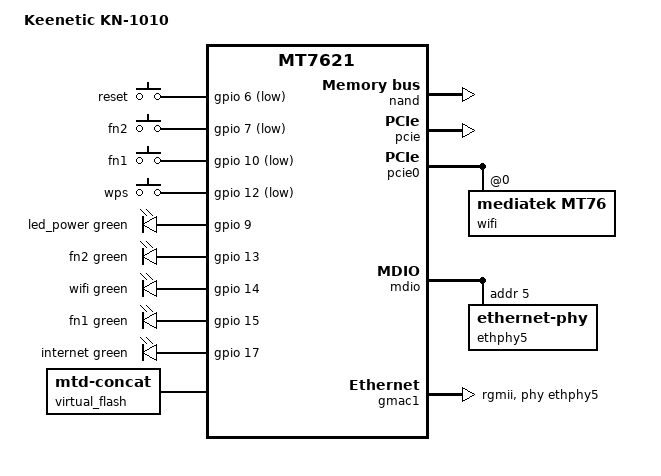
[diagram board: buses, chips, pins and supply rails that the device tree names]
// SPDX-License-Identifier: GPL-2.0-or-later OR MIT
#include "mt7621.dtsi"

#include <dt-bindings/gpio/gpio.h>
#include <dt-bindings/input/input.h>
#include <dt-bindings/leds/common.h>

/ {
	compatible = "keenetic,kn-1010", "mediatek,mt7621-soc";
	model = "Keenetic KN-1010";

	aliases {
		led-boot = &led_power;
		led-failsafe = &led_power;
		led-running = &led_power;
		led-upgrade = &led_power;
		label-mac-device = &gmac0;
	};

	chosen {
		bootargs = "console=ttyS0,57600";
	};

	keys {
		compatible = "gpio-keys";

		reset {
			label = "reset";
			gpios = <&gpio 6 GPIO_ACTIVE_LOW>;
			linux,code = <KEY_RESTART>;
		};

		fn2 {
			label = "fn2";
			gpios = <&gpio 7 GPIO_ACTIVE_LOW>;
			linux,code = <BTN_2>;
		};

		fn1 {
			label = "fn1";
			gpios = <&gpio 10 GPIO_ACTIVE_LOW>;
			linux,code = <BTN_1>;
		};

		wps {
			label = "wps";
			gpios = <&gpio 12 GPIO_ACTIVE_LOW>;
			linux,code = <KEY_WPS_BUTTON>;
		};
	};

	leds {
		compatible = "gpio-leds";

		led_power: power {
			function = LED_FUNCTION_POWER;
			color = <LED_COLOR_ID_GREEN>;
			gpios = <&gpio 9 GPIO_ACTIVE_HIGH>;
		};

		fn2 {
			function = LED_FUNCTION_INDICATOR;
			color = <LED_COLOR_ID_GREEN>;
			function-enumerator = <2>;
			gpios = <&gpio 13 GPIO_ACTIVE_HIGH>;
		};

		wifi {
			function = LED_FUNCTION_WLAN;
			color = <LED_COLOR_ID_GREEN>;
			gpios = <&gpio 14 GPIO_ACTIVE_HIGH>;
			linux,default-trigger = "phy0tpt";
		};

		fn1 {
			function = LED_FUNCTION_INDICATOR;
			color = <LED_COLOR_ID_GREEN>;
			function-enumerator = <1>;
			gpios = <&gpio 15 GPIO_ACTIVE_HIGH>;
		};

		internet {
			function = LED_FUNCTION_WAN;
			color = <LED_COLOR_ID_GREEN>;
			gpios = <&gpio 17 GPIO_ACTIVE_HIGH>;
		};
	};

	virtual_flash {
		compatible = "mtd-concat";
		devices = <&firmware1 &firmware2 &storage_a &storage_b>;

		partitions {
			compatible = "fixed-partitions";
			#address-cells = <1>;
			#size-cells = <1>;

			partition@0 {
				label = "kernel";
				reg = <0x0 0x400000>;
			};

			partition@400000 {
				label = "ubi";
				reg = <0x400000 0x7540000>;
			};
		};
	};
};

&state_default {
	gpio {
		groups = "uart2", "uart3", "jtag", "wdt";
		function = "gpio";
	};
};

&nand {
	status = "okay";

	partitions {
		compatible = "fixed-partitions";
		#address-cells = <1>;
		#size-cells = <1>;

		partition@0 {
			label = "u-boot";
			reg = <0x0 0x80000>;
			read-only;
		};

		partition@80000 {
			label = "u-config";
			reg = <0x80000 0x80000>;
			read-only;
		};

		partition@100000 {
			label = "rf-eeprom";
			reg = <0x100000 0x80000>;
			read-only;

			nvmem-layout {
				compatible = "fixed-layout";
				#address-cells = <1>;
				#size-cells = <1>;

				eeprom_factory_0: eeprom@0 {
					reg = <0x0 0x4da8>;
				};

				macaddr_factory_4: macaddr@4 {
					compatible = "mac-base";
					reg = <0x4 0x6>;
					#nvmem-cell-cells = <1>;
				};

				macaddr_factory_28: macaddr@28 {
					reg = <0x28 0x6>;
				};
			};
		};

		firmware1: partition@180000 {
			label = "firmware_1";
			reg = <0x180000 0x1bc0000>;
		};

		partition@1d40000 {
			label = "config_1";
			reg = <0x1d40000 0x80000>;
			read-only;
		};

		partition@1dc0000 {
			label = "storage_legacy";
			reg = <0x1dc0000 0x200000>;
			read-only;
		};

		partition@1fc0000 {
			label = "dump";
			reg = <0x1fc0000 0x40000>;
			read-only;
		};

		storage_a: partition@2000000 {
			label = "storage_a";
			reg = <0x2000000 0x1fc0000>;
		};

		partition@3fc0000 {
			label = "u-state";
			reg = <0x3fc0000 0x80000>;
			read-only;
		};

		partition@4040000 {
			label = "d-state";
			reg = <0x4040000 0x80000>;
			read-only;
		};

		partition@40c0000 {
			label = "rf-eeprom_res";
			reg = <0x40c0000 0x80000>;
			read-only;
		};

		firmware2: partition@4140000 {
			label = "firmware_2";
			reg = <0x4140000 0x1bc0000>;
		};

		partition@5d00000 {
			label = "config_2";
			reg = <0x5d00000 0x80000>;
			read-only;
		};

		storage_b: partition@5d80000 {
			label = "storage_b";
			reg = <0x5d80000 0x2200000>;
		};
	};
};

&pcie {
	status = "okay";
};

&pcie0 {
	wifi@0,0 {
		compatible = "mediatek,mt76";
		reg = <0x0000 0 0 0 0>;
		nvmem-cells = <&eeprom_factory_0>;
		nvmem-cell-names = "eeprom";

		#address-cells = <1>;
		#size-cells = <0>;

		band@1 {
			reg = <1>;
			nvmem-cells = <&macaddr_factory_4 2>;
			nvmem-cell-names = "mac-address";
		};
	};
};

&mdio {
	ethphy5: ethernet-phy@5 {
		reg = <5>;
	};
};

&gmac0 {
	nvmem-cells = <&macaddr_factory_4 0>;
	nvmem-cell-names = "mac-address";
};

&gmac1 {
	status = "okay";
	label = "wan";
	phy-mode = "rgmii";
	phy-handle = <&ethphy5>;

	nvmem-cells = <&macaddr_factory_28>;
	nvmem-cell-names = "mac-address";
};

&reg_vbus {
	/delete-property/ regulator-always-on;
	gpios = <&gpio 5 GPIO_ACTIVE_HIGH>;
	enable-active-high;
};

&reg_vusb33 {
	/delete-property/ regulator-always-on;
	gpios = <&gpio 11 GPIO_ACTIVE_HIGH>;
	enable-active-high;
};

&switch0 {
	ports {
		port@0 {
			status = "okay";
			label = "lan4";
		};

		port@1 {
			status = "okay";
			label = "lan3";
		};

		port@2 {
			status = "okay";
			label = "lan2";
		};

		port@3 {
			status = "okay";
			label = "lan1";
		};
	};
};
